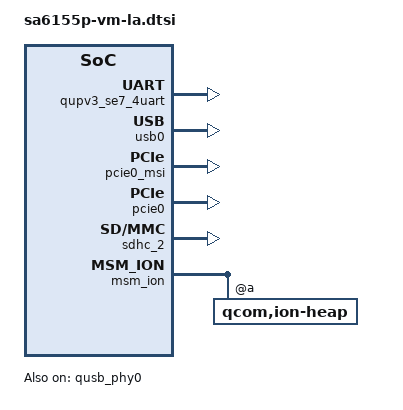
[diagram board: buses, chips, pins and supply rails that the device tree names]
/*
 * Copyright (c) 2019-2020, The Linux Foundation. All rights reserved.

 * This program is free software; you can redistribute it and/or modify
 * it under the terms of the GNU General Public License version 2 and
 * only version 2 as published by the Free Software Foundation.

 * This program is distributed in the hope that it will be useful,
 * but WITHOUT ANY WARRANTY; without even the implied warranty of
 * MERCHANTABILITY or FITNESS FOR A PARTICULAR PURPOSE.  See the
 * GNU General Public License for more details.
 */


#include "sa6155p-vm.dtsi"

/ {
	reserved_memory: reserved-memory {

		pmem_shared: pmem_shared_region@a1600000 {
			reg = <0x0 0xa1600000 0x0 0x20000000>;
			label = "pmem_shared_mem";
		};

		secure_display_memory: secure_display_region {
			compatible = "shared-dma-pool";
			reusable;
			reg = <0x0 0xc1800000 0x0 0x14000000>;
		};
	};
};

&slpi_tlmm {
	status = "ok";
};

&apps_smmu {
	status = "ok";
};

&qupv3_se7_4uart {
	status = "ok";
};

&usb0 {
	status = "ok";
};

&qusb_phy0 {
	status = "ok";
};

&pcie0_msi {
	status = "ok";
};

&pcie0 {
	status = "ok";
};

&sdhc_2 {
	status = "ok";
};

&msm_ion {
	qcom,ion-heap@10 {
		reg = <10>;
		memory-region = <&secure_display_memory>;
		qcom,ion-heap-type = "HYP_CMA";
	};
};
